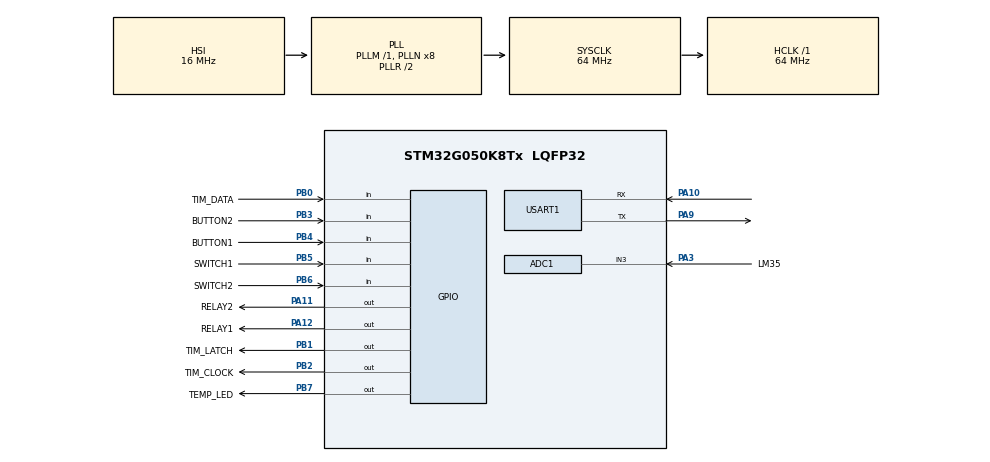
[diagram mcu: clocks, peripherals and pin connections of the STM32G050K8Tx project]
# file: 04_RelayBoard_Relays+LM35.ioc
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ADC1.Channel-0\#ChannelRegularConversion=ADC_CHANNEL_3
ADC1.ClockPrescaler=ADC_CLOCK_SYNC_PCLK_DIV4
ADC1.ContinuousConvMode=DISABLE
ADC1.DMAContinuousRequests=DISABLE
ADC1.EOCSelection=ADC_EOC_SEQ_CONV
ADC1.NbrOfConversion=1
ADC1.NbrOfConversionFlag=1
ADC1.Rank-0\#ChannelRegularConversion=1
ADC1.SamplingTime-0\#ChannelRegularConversion=ADC_SAMPLINGTIME_COMMON_1
ADC1.SamplingTimeCommon1=ADC_SAMPLETIME_1CYCLE_5
ADC1.SamplingTimeCommon2=ADC_SAMPLETIME_1CYCLE_5
ADC1.SelectedChannel=ADC_CHANNEL_3
ADC1.master=1
Dma.ADC1.0.Direction=DMA_PERIPH_TO_MEMORY
Dma.ADC1.0.EventEnable=DISABLE
Dma.ADC1.0.Instance=DMA1_Channel1
Dma.ADC1.0.MemDataAlignment=DMA_MDATAALIGN_WORD
Dma.ADC1.0.MemInc=DMA_MINC_ENABLE
Dma.ADC1.0.Mode=DMA_CIRCULAR
Dma.ADC1.0.PeriphDataAlignment=DMA_PDATAALIGN_WORD
Dma.ADC1.0.PeriphInc=DMA_PINC_DISABLE
Dma.ADC1.0.Polarity=HAL_DMAMUX_REQ_GEN_RISING
Dma.ADC1.0.Priority=DMA_PRIORITY_LOW
Dma.ADC1.0.RequestNumber=1
Dma.ADC1.0.SignalID=NONE
Dma.ADC1.0.SyncEnable=DISABLE
Dma.ADC1.0.SyncPolarity=HAL_DMAMUX_SYNC_NO_EVENT
Dma.ADC1.0.SyncRequestNumber=1
Dma.ADC1.0.SyncSignalID=NONE
Dma.Request0=ADC1
Mcu.Family=STM32G0
Mcu.Name=STM32G050K8Tx
Mcu.Package=LQFP32
NVIC.DMA1_Channel1_IRQn=true\:0\:0\:false\:false\:true\:false\:true\:true
PA10.Mode=Asynchronous
PA10.Signal=USART1_RX
PA11\ [PA9].GPIO_Label=RELAY2
PA11\ [PA9].Signal=GPIO_Output
PA12\ [PA10].GPIO_Label=RELAY1
PA12\ [PA10].Signal=GPIO_Output
PA13.Mode=Serial_Wire
PA13.Signal=SYS_SWDIO
PA14-BOOT0.Mode=Serial_Wire
PA14-BOOT0.Signal=SYS_SWCLK
PA3.GPIO_Label=LM35
PA3.Mode=IN3
PA3.Signal=ADC1_IN3
PA9.Mode=Asynchronous
PA9.Signal=USART1_TX
PB0.GPIO_Label=TIM_DATA
PB0.Signal=GPIO_Input
PB1.GPIO_Label=TIM_LATCH
PB1.PinState=GPIO_PIN_SET
PB1.Signal=GPIO_Output
PB2.GPIO_Label=TIM_CLOCK
PB2.Signal=GPIO_Output
PB3.GPIO_Label=BUTTON2
PB3.Signal=GPIO_Input
PB4.GPIO_Label=BUTTON1
PB4.Signal=GPIO_Input
PB5.GPIO_Label=SWITCH1
PB5.Signal=GPIO_Input
PB6.GPIO_Label=SWITCH2
PB6.Signal=GPIO_Input
PB7.GPIO_Label=TEMP_LED
PB7.Signal=GPIO_Output
PC14-OSC32_IN\ (PC14).Mode=HSE-External-Clock-Source
PC14-OSC32_IN\ (PC14).Signal=RCC_OSC_IN
PC15-OSC32_OUT\ (PC15).Mode=OSC enable
PC15-OSC32_OUT\ (PC15).Signal=RCC_OSC_EN
ProjectManager.HeapSize=0x200
ProjectManager.StackSize=0x400
ProjectManager.TargetToolchain=STM32CubeIDE
RCC.ADCCLockSelection=RCC_ADCCLKSOURCE_HSI
RCC.ADCFreq_Value=16000000
RCC.AHBFreq_Value=64000000
RCC.CortexFreq_Value=64000000
RCC.EXTERNAL_CLOCK_VALUE=48000
RCC.HCLKFreq_Value=64000000
RCC.HSE_VALUE=8000000
RCC.HSI_VALUE=16000000
RCC.LSE_VALUE=32768
RCC.SYSCLKFreq_VALUE=64000000
RCC.SYSCLKSource=RCC_SYSCLKSOURCE_PLLCLK
RCC.VCOOutputFreq_Value=128000000
USART1.VirtualMode-Asynchronous=VM_ASYNC
VP_SYS_VS_DBSignals.Mode=DisableDeadBatterySignals
board=custom

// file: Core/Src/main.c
/* USER CODE BEGIN Header */
/**
  ******************************************************************************
  * @file           : main.c
  * @brief          : Main program body
  ******************************************************************************
  * @attention
  *
  * Copyright (c) 2025 STMicroelectronics.
  * All rights reserved.
  *
  * This software is licensed under terms that can be found in the LICENSE file
  * in the root directory of this software component.
  * If no LICENSE file comes with this software, it is provided AS-IS.
  *
  ******************************************************************************
  */
/* USER CODE END Header */
#include "main.h"
#include "adc.h"
#include "dma.h"
#include "usart.h"
#include "gpio.h"

/* USER CODE BEGIN Includes */

#include "stdio.h"
#include "string.h"

/* USER CODE END Includes */

/* USER CODE BEGIN PD */

#define DELAY	10

/* USER CODE END PD */

/* USER CODE BEGIN PV */

//UART
char		MSG[] = {'\0'};

//ADC's
uint32_t	LM35 = 	0;

//Work
float 		Temperature = 0.0;
uint16_t Rel1_Timer = 0;
uint16_t Rel2_Timer = 0;

//DIP's input for time setting
uint8_t DIP1 = 0x00;
uint8_t DIP2 = 0x00;
uint8_t TIM_DEBUG[8] = {'\0'};

//Inputs
uint8_t BTN1 = 0;
uint8_t BTN2 = 0;
uint8_t SW1 = 0;
uint8_t SW2 = 0;

//Outputs
uint8_t REL1 = 0;
uint8_t REL2 = 0;
uint8_t LED = 0;

/* USER CODE END PV */

void SystemClock_Config(void);

/* USER CODE BEGIN 0 */

void ReadInputs()
{
	if(HAL_GPIO_ReadPin(BUTTON1_GPIO_Port, BUTTON1_Pin))
		BTN1 = 0;
	else
		BTN1 = 1;

	if(HAL_GPIO_ReadPin(BUTTON2_GPIO_Port, BUTTON2_Pin))
		BTN2 = 0;
	else
		BTN2 = 1;

	if(HAL_GPIO_ReadPin(SWITCH1_GPIO_Port, SWITCH1_Pin))
		SW1 = 0;
	else
		SW1 = 1;

	if(HAL_GPIO_ReadPin(SWITCH2_GPIO_Port, SWITCH2_Pin))
		SW2 = 0;
	else
		SW2 = 1;
}

void WriteOutputs()
{
	if(REL1)
	{
		HAL_GPIO_WritePin(RELAY1_GPIO_Port, RELAY1_Pin, GPIO_PIN_SET);
		HAL_Delay(Rel1_Timer);
	}
	else
		HAL_GPIO_WritePin(RELAY1_GPIO_Port, RELAY1_Pin, GPIO_PIN_RESET);

	if(REL2)
	{
		HAL_GPIO_WritePin(RELAY2_GPIO_Port, RELAY2_Pin, GPIO_PIN_SET);
		HAL_Delay(Rel2_Timer);
	}
	else
		HAL_GPIO_WritePin(RELAY2_GPIO_Port, RELAY2_Pin, GPIO_PIN_RESET);

	if(LED)
		HAL_GPIO_WritePin(TEMP_LED_GPIO_Port, TEMP_LED_Pin, GPIO_PIN_SET);
	else
		HAL_GPIO_WritePin(TEMP_LED_GPIO_Port, TEMP_LED_Pin, GPIO_PIN_RESET);
}

void Logic()
{
	if(BTN1 | SW1)
		REL1 = 1;
	else
		REL1 = 0;

	if(BTN2 | SW2)
		REL2 = 1;
	else
		REL2 = 0;

	if(Temperature > 20.0)
		LED = 1;
	else
		LED = 0;

}

void ReadData()
{
	HAL_GPIO_WritePin(TIM_LATCH_GPIO_Port, TIM_LATCH_Pin, GPIO_PIN_RESET);
	HAL_Delay(1);			// needs 24ns at 4,5V
	HAL_GPIO_WritePin(TIM_LATCH_GPIO_Port, TIM_LATCH_Pin, GPIO_PIN_SET);
	HAL_Delay(1);
}

void ShiftData()
{
	ReadData();
/*
	uint8_t TIM_DEBUG[8] = {'\0'};

	for(uint8_t i = 0 ; i < 8 ; i++)
		{
//*/

//*
	DIP1 = 0x00;
	DIP2 = 0x00;

	for(uint8_t i = 0 ; i < 8 ; i++)
	{
		if(i < 4)
		{
			DIP1 = DIP1 << 1;
			if(HAL_GPIO_ReadPin(TIM_DATA_GPIO_Port, TIM_DATA_Pin) == 1)
			{
				DIP1 |= 0x01;
			}
			else
			{
				asm("NOP");
				asm("NOP");
			}
		}
		else if(i>=4)
		{
			DIP2 = DIP2 << 1;
			if(HAL_GPIO_ReadPin(TIM_DATA_GPIO_Port, TIM_DATA_Pin) == 1)
			{
				DIP2 |= 0x01;
			}
			else
			{
				asm("NOP");
				asm("NOP");
			}
		}

		HAL_GPIO_WritePin(TIM_CLOCK_GPIO_Port, TIM_CLOCK_Pin, GPIO_PIN_SET);
		HAL_Delay(1);

		HAL_GPIO_WritePin(TIM_CLOCK_GPIO_Port, TIM_CLOCK_Pin, GPIO_PIN_RESET);
		HAL_Delay(1);

	}
//*/
}

void CalculateDelay()
{
	Rel1_Timer = 0;
	Rel2_Timer = 0;

	Rel1_Timer = DIP1 * 200;
	Rel2_Timer = DIP2 * 200;
}
/* USER CODE END 0 */

int main(void)
{

  /* MCU Configuration--------------------------------------------------------*/

  /* Reset of all peripherals, Initializes the Flash interface and the Systick. */
  HAL_Init();

  /* Configure the system clock */
  SystemClock_Config();

  /* Initialize all configured peripherals */
  MX_GPIO_Init();
  MX_DMA_Init();
  MX_ADC1_Init();
  MX_USART1_UART_Init();
  /* USER CODE BEGIN 2 */

  HAL_ADCEx_Calibration_Start(&hadc1);

  /* USER CODE END 2 */

  /* Infinite loop */
  /* USER CODE BEGIN WHILE */
  while (1)
  {
	  ReadInputs();

	  Logic();

	  WriteOutputs();

	  HAL_ADC_Start_DMA(&hadc1, &LM35, 1);
	  Temperature = (LM35 * 0.05035477259);

	  ShiftData();
	  CalculateDelay();

/*
	  	for(uint8_t o = 0 ; o < 8 ; o++)
	  	{
	  		if(( TIM_Input >> o) & 0x01)
	  		{
	  			HAL_GPIO_WritePin(TEMP_LED_GPIO_Port, TEMP_LED_Pin, GPIO_PIN_SET);
	  			HAL_Delay(PRESET_DELAY);
	  		}
	  		else
	  		{
	  			HAL_Delay(PRESET_DELAY);
	  		}
*/

/*
	  if(!BTN1 | !BTN2 | !SW1 | !SW2)
	  {
		  HAL_GPIO_WritePin(TEMP_LED_GPIO_Port, TEMP_LED_Pin, GPIO_PIN_SET);
	  }
	  else
	  {
		  HAL_GPIO_WritePin(TEMP_LED_GPIO_Port, TEMP_LED_Pin, GPIO_PIN_RESET);
	  }
*/

/* UART
	  sprintf(&MSG, "%f", (uint8_t)Temperature);
	  HAL_UART_Transmit(&huart1, &MSG, sizeof(MSG), 100);
*/

    /* USER CODE END WHILE */
    /* USER CODE BEGIN 3 */
	  HAL_Delay(DELAY);
  }
  /* USER CODE END 3 */
}

void SystemClock_Config(void)
{
  RCC_OscInitTypeDef RCC_OscInitStruct = {0};
  RCC_ClkInitTypeDef RCC_ClkInitStruct = {0};

  /** Configure the main internal regulator output voltage
  */
  HAL_PWREx_ControlVoltageScaling(PWR_REGULATOR_VOLTAGE_SCALE1);

  /** Initializes the RCC Oscillators according to the specified parameters
  * in the RCC_OscInitTypeDef structure.
  */
  RCC_OscInitStruct.OscillatorType = RCC_OSCILLATORTYPE_HSI;
  RCC_OscInitStruct.HSIState = RCC_HSI_ON;
  RCC_OscInitStruct.HSIDiv = RCC_HSI_DIV1;
  RCC_OscInitStruct.HSICalibrationValue = RCC_HSICALIBRATION_DEFAULT;
  RCC_OscInitStruct.PLL.PLLState = RCC_PLL_ON;
  RCC_OscInitStruct.PLL.PLLSource = RCC_PLLSOURCE_HSI;
  RCC_OscInitStruct.PLL.PLLM = RCC_PLLM_DIV1;
  RCC_OscInitStruct.PLL.PLLN = 8;
  RCC_OscInitStruct.PLL.PLLP = RCC_PLLP_DIV2;
  RCC_OscInitStruct.PLL.PLLR = RCC_PLLR_DIV2;
  if (HAL_RCC_OscConfig(&RCC_OscInitStruct) != HAL_OK)
  {
    Error_Handler();
  }

  /** Initializes the CPU, AHB and APB buses clocks
  */
  RCC_ClkInitStruct.ClockType = RCC_CLOCKTYPE_HCLK|RCC_CLOCKTYPE_SYSCLK
                              |RCC_CLOCKTYPE_PCLK1;
  RCC_ClkInitStruct.SYSCLKSource = RCC_SYSCLKSOURCE_PLLCLK;
  RCC_ClkInitStruct.AHBCLKDivider = RCC_SYSCLK_DIV1;
  RCC_ClkInitStruct.APB1CLKDivider = RCC_HCLK_DIV1;

  if (HAL_RCC_ClockConfig(&RCC_ClkInitStruct, FLASH_LATENCY_2) != HAL_OK)
  {
    Error_Handler();
  }
}

void Error_Handler(void)
{
  __disable_irq();
  while (1)
  {
  }
}
